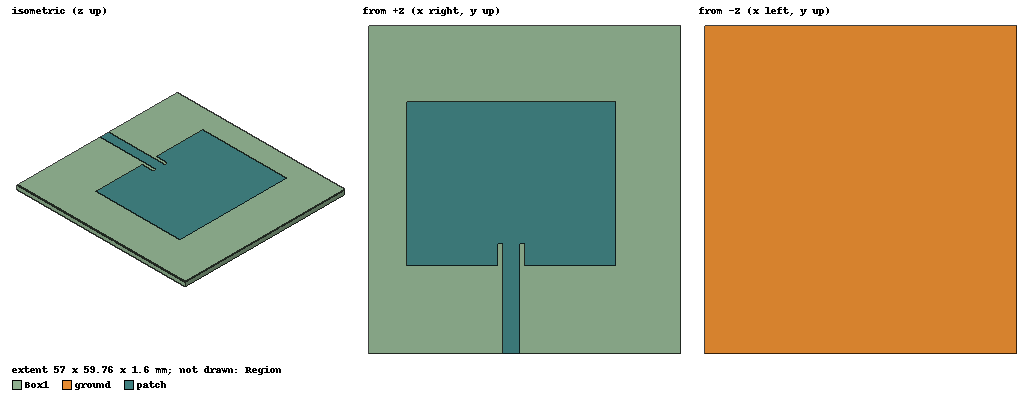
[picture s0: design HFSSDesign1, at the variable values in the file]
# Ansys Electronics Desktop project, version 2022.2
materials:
  vacuum: permittivity=1
  FR4_epoxy: permittivity=4.4 dielectric_loss_tangent=0.02
  air: permittivity=1.0006 permeability=1.0000004

design HFSSDesign1 (HFSS, DrivenModal, model units mm)
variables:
  l = 29.88mm
  b = 38mm
  bg = 5mm
  lg = 8mm
  W = 3.058975mm
  Lp = 32mm
  h = 1.6mm
  xg = 26mm
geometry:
  patch = rectangle(corner=(-b/2, -l/2, 0mm), x_size=b, y_size=l)
  coordinate_system RelativeCS1 = origin=(0mm, -l/2, 0mm) x=(1mm, 0mm, 0mm) y=(0mm, 1mm, 0mm)
  gap = rectangle(corner=(-bg/2, -lg/2, 0mm), x_size=bg, y_size=lg) in RelativeCS1
  patch.subtract(gap)
  linefeed = rectangle(corner=(-W/2, -Lp/2, 0mm), x_size=W, y_size=Lp) in RelativeCS1
  patch.unite(linefeed)
  coordinate_system RelativeCS2 = origin=(0mm, -16mm, 0mm) x=(1mm, 0mm, 0mm) y=(0mm, 1mm, 0mm) in RelativeCS1
  Box1 [FR4_epoxy] = box(corner=(-xg, 0mm, 0mm), size=(1.5*b, 2*l, -h)) in RelativeCS2
  ground = rectangle(corner=(-xg, 0mm, -h), x_size=1.5*b, y_size=2*l) in RelativeCS2
  port = rectangle(corner=(-W/2, -Lp/2, 0mm), z_size=-h, x_size=W) in RelativeCS1
  Region [air] = region(absolute_offset=10mm on all sides)
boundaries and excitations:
  PerfE1: Perfect E Objects=[ground, patch]
  Rad1: Radiation Objects=Region
  1: Lumped Port Objects=port Modes{Mode1{IntLine{(0, -30.94, -1.6) -> (0, -30.94, 0)} CharImp=Zpi RenormImp=50ohm}} Impedance=50ohm
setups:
  Setup1: HfssDriven Frequency=2.4GHz MaxDeltaS=0.02 MaximumPasses=50 MinimumPasses=1 MinimumConvergedPasses=1 PercentRefinement=30 BasisOrder=1 PortAccuracy=2 DrivenSolverType="Direct Solver"
    sweep Sweep: 2GHz to 3GHz step 0.006GHz; Type=Fast SaveFields
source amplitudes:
  1:1: 1W 0deg
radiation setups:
  Infinite Sphere1: Infinite Sphere Theta=0deg..180deg step 2deg Phi=-180deg..180deg step 2deg
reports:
  S Parameter Plot 1: dB(S(1,1)) vs Freq on Setup1 : Sweep; markers m1 at 2.318GHz, m2 at 2.36GHz
  Gain Plot 1: dB(GainTotal) vs Phi, Theta on Setup1 : LastAdaptive, Infinite Sphere1 [Freq=2.4GHz]
  Z Parameter Plot 1: re(Z(1,1)), im(Z(1,1)) vs Freq on Setup1 : Sweep; markers m1 at 2.396GHz, m2 at 2.24GHz
